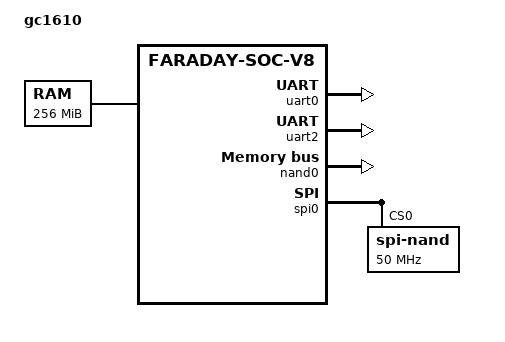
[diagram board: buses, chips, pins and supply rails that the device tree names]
/*
 * Copyright (C) 2014 Faraday, Inc. (www.faraday-tech.com)
 *
 * This program is free software; you can redistribute it and/or modify
 * it under the terms of the GNU General Public License version 2 as
 * published by the Free Software Foundation.
 */
 /dts-v1/;

#include <dt-bindings/interrupt-controller/arm-gic.h>

/ {
	model = "gc1610";
	compatible = "arm,faraday-soc-gc1610","faraday-soc-v8";
	u-boot,dm-pre-reloc;
	interrupt-parent = <&gic>;
	#address-cells = <2>;
	#size-cells = <2>;
	
	aliases {
		serial0 = &uart0;
/*		spi0 = &spi0; */
	};
	
	cpus {
		#address-cells = <2>;
		#size-cells = <0>;
		
		cpu@0 {
			device_type = "cpu";
			compatible = "arm,cortex-a53", "arm,armv8";
//			clock-frequency = <25000000>;
			clock-frequency = <6000000>;
			reg = <0x0 0x000>;
			enable-method = "spin-table";
		};
	
		cpu@1 {
			device_type = "cpu";
			compatible = "arm,cortex-a53","arm,armv8";
			clock-frequency = <8000000>;
			reg = <0x0 0x001>;
			enable-method = "spin-table";
			cpu-release-addr = <0x0 0x201008ac>;
			cpu-magic-addr = <0x0 0x201008a8>;
		};
	
	};
	
	memory@80000000 {
		device_type = "memory";
		reg = <0x0 0x80000000 0x0 0x10000000>;
	};
	gic: interrupt-controller@00400000 {
		compatible = "arm,gic-v3";
		#interrupt-cells = <3>;
		#address-cells = <2>;
		#size-cells = <2>;
		interrupt-controller;
		#redistributor-regions = <1>;
		redistributor-stride = <0x0 0x40000>;	
		reg = <0 0x400000 0 0x40000>,    /* GICD */
		      <0 0x440000 0 0x40000>,   /* GICR */
		      <0x0 0x3f000000 0x0 0x2000>, /* GICC */			  
/*		      <0x0 0x500000 0x0 0x2000>,   *//* GICC */
		      <0x0 0x510000 0x0 0x1000>,  /* GICH */
		      <0x0 0x520000 0x0 0x20000>; /* GICV */	
	};

    timer {
		compatible = "arm,armv8-timer";
		interrupt-parent = <&gic>;
		interrupts = <GIC_PPI 13 (GIC_CPU_MASK_RAW(0xff)|IRQ_TYPE_LEVEL_LOW)>,
		             <GIC_PPI 14 (GIC_CPU_MASK_RAW(0xff)|IRQ_TYPE_LEVEL_LOW)>,
		             <GIC_PPI 11 (GIC_CPU_MASK_RAW(0xff)|IRQ_TYPE_LEVEL_LOW)>,
		             <GIC_PPI 10 (GIC_CPU_MASK_RAW(0xff)|IRQ_TYPE_LEVEL_LOW)>;
		clock-frequency = <50000000>;
		status = "okay";
	};
 
	chosen {
/*		u-boot,dm-pre-reloc; */
		bootargs = "mem=256M console=ttyS0,38400 earlycon=uart8250,mmio32,0x20700000";
		stdout-path = &uart0;
		tick-timer = &timer0;
	};
	
    clocks {
		compatible = "faraday,gc6-clk";
		
		osc0: osc0-12mhz {
			#clock-cells = <0>;
			compatible = "gc6,osc0";
			clock-frequency = <12000000>;
			clock-output-names = "osc0";
		};
		
		audio: audio-12288khz {
			#clock-cells = <0>;
			compatible = "gc6,audio";
			clock-frequency = <12288000>;
			clock-output-names = "audio";
		};
		
		pll0: pll0 {
			#clock-cells = <0>;
			compatible = "gc6,pll0";
			clock-div = <4>;
			clock-output-names = "pll0";
			clocks = <&osc0>;
		};
		
		pll1: pll1 {
			#clock-cells = <0>;
			compatible = "gc6,pll1";
			clock-div = <6>;
			clock-output-names = "pll1";
			clocks = <&osc0>;
		};
		
		pll2: pll2 {
			#clock-cells = <0>;
			compatible = "gc6,pll2";
			clock-div = <8>;
			clock-output-names = "pll2";
			clocks = <&osc0>;
		};
		
		pll3: pll3 {
			#clock-cells = <0>;
			compatible = "gc6,pll3";
			clock-div = <6>;
			clock-output-names = "pll3";
			clocks = <&osc0>;
		};
		
		pll3_div2: pll3_div2 {
			#clock-cells = <0>;
			compatible = "gc6,pll3_div2";
			clock-mult = <1>;
			clock-div = <2>;
			clock-output-names = "pll3_div2";
			clocks = <&pll3>;
		};
		
		cpu: cpu {
			#clock-cells = <0>;
			compatible = "gc6,cpu";
			clock-mult = <1>;
			clock-div = <1>;
			clock-output-names = "cpu";
			clocks = <&osc0>, <&pll0>;
		};
		
		ddrmclk: ddrmclk {
			#clock-cells = <0>;
			compatible = "gc6,ddrmclk";
			clock-mult = <1>;
			clock-div = <1>;
			clock-output-names = "ddrmclk";
			clocks = <&aclk_div2>, <&pll3>;
		};
		
		axi: axi {
			#clock-cells = <0>;
			compatible = "gc6,axi";
			clock-mult = <1>;
			clock-div = <1>;
			clock-output-names = "axi";
			clocks = <&pll1>;
		};
		
		aclk: aclk {
			#clock-cells = <0>;
			compatible = "gc6,aclk";
			clock-mult = <1>;
			clock-div = <1>;
			clock-output-names = "aclk";
			clocks = <&pll1>;
		};
		
		aclk_div2: aclk_div2 {
			#clock-cells = <0>;
			compatible = "gc6,aclk_div2";
			clock-output-names = "aclk_div2";
			clock-mult = <1>;
			clock-div = <2>;
			clocks = <&aclk>;
		};
		
		ahb: ahb {
			#clock-cells = <0>;
			compatible = "gc6,ahb";
			clock-mult = <1>;
			clock-div = <4>;
			clock-output-names = "ahb";
			clocks = <&pll1>;
		};
		
		hclk: hclk {
			#clock-cells = <0>;
			compatible = "gc6,hclk";
			clock-mult = <1>;
			clock-div = <4>;
			clock-output-names = "hclk";
			clocks = <&pll1>;
		};
		
		apb: apb {
			#clock-cells = <0>;
			compatible = "gc6,apb";
			clock-mult = <1>;
			clock-div = <8>;
			clock-output-names = "APB";
			clocks = <&pll1>;
		};
		
		pclk: pclk {
			#clock-cells = <0>;
			compatible = "gc6,pclk";
			clock-mult = <1>;
			clock-div = <8>;
			clock-output-names = "pclk";
			clocks = <&pll1>;
		};
		
		sdclk: sdclk {
			#clock-cells = <0>;
			compatible = "gc6,sdclk";
			clock-mult = <1>;
			clock-div = <2>;
			clock-output-names = "sdclk";
			clocks = <&aclk_div2>;
		};
		
		spiclk: spiclk {
			#clock-cells = <0>;
			compatible = "gc6,spiclk";
			clock-mult = <1>;
			clock-div = <1>;
			clock-output-names = "spiclk";
			clocks = <&hclk>;
		};
	
		sspclk: sspclk {
			#clock-cells = <0>;
			compatible = "gc6,sspclk";
			clock-mult = <1>;
			clock-div = <1>;
			clock-output-names = "sspclk";
			clocks = <&hclk>;
		};
		
		sspclk_i2s: sspclk_i2s {
			#clock-cells = <0>;
			compatible = "gc6,sspclk_i2s";
			clock-mult = <1>;
			clock-div = <1>;
			clock-output-names = "sspclk_i2s";
			clocks = <&audio>;
		};
		
		gmacclk: gmacclk {
			#clock-cells = <0>;
			compatible = "gc6,gmacclk";
			clock-mult = <1>;
			clock-div = <1>;
			clock-output-names = "gmacclk";
			clocks = <&hclk>;
		};
		
		lcclk: lcclk {
			#clock-cells = <0>;
			compatible = "gc6,lcclk";
			clock-output-names = "lcclk";
			clock-mult = <1>;
			clock-div = <3>;
			clocks = <&pll2>;
		};
	};
	
	soc{
		#address-cells = <2>;
		#size-cells = <2>;
		compatible = "simple-bus";
		ranges;

		timer0: timer@20200000 {
			compatible = "faraday,ftpwmtmr010-timer";
			reg = <0x0 0x20200000 0x0 0x1000>;
			interrupts = <GIC_SPI 34 IRQ_TYPE_LEVEL_HIGH>;
		};
		
		uart0: uart@20700000 {
			//compatible = "of_serial,ns16550_serial", "ns16550";
			compatible = "of_serial", "ns16550a","of_serial,ns16550_serial", "ns16550";
			clock-frequency = <31250000>;
			reg = <0x0 0x20700000 0x0 0x1000>;
			reg-offset = <0>;
			reg-shift = <2>;
			reg-io-width = <4>;
			no-loopback-test;
			interrupts = <GIC_SPI 19 IRQ_TYPE_LEVEL_HIGH>;
		};
		uart2: uart@20900000 {
			//compatible = "of_serial,ns16550_serial", "ns16550";
			compatible = "of_serial", "ns16550a","of_serial,ns16550_serial", "ns16550";
			clock-frequency = <31250000>;
			reg = <0x0 0x20900000 0x0 0x1000>;
			reg-offset = <0>;
			reg-shift = <2>;
			reg-io-width = <4>;
			no-loopback-test;
			interrupts = <GIC_SPI 21 IRQ_TYPE_LEVEL_HIGH>;
		};
		nand0: nand@c0600000 {
			compatible = "ftnandc024";
			reg = <0x10000000 0x1000>;
			data_reg = <0x10100000 0x1000>;
			sel_ce = <0>;
			rac = <3>;
			cac = <2>;
			bi_reserve = <1>;
			interrupts = <GIC_SPI 26 IRQ_TYPE_LEVEL_HIGH>;
		};		
		/*
		sd0: sd@24300000 {
			compatible = "faraday,ftsdc021-sdhci";
			interrupt-parent = <&gic>;
			reg = <0x24300000 0x1000>;
			interrupts = <GIC_SPI 25 IRQ_TYPE_LEVEL_HIGH>;
			bus-width = <4>;
			status = "okay";
		};
		
		sd1: sd@24400000 {
			compatible = "faraday,ftsdc021-sdhci";
			interrupt-parent = <&gic>;
			reg = <0x24400000 0x1000>;
			interrupts = <GIC_SPI 26 IRQ_TYPE_LEVEL_HIGH>;
			bus-width = <4>;
			status = "disabled";
		};
	*/	
		spi0: spi@00300000 {
			compatible = "faraday,ftspi020_spi";
			interrupt-parent = <&gic>;
			reg = <0x0 0x00300000 0x0 0x200>;
			interrupts = <GIC_SPI 75 IRQ_TYPE_LEVEL_HIGH>;
			num-cs = <4>;
			cs = <0>;
			max_hz = <60000000>;
			status = "okay";
			
			#address-cells = <1>;
			#size-cells = <0>;
			/*
			spi0_flash0: spi0_flash0@0 {
				compatible = "en25qh256"; 
				#address-cells = <1>;
				#size-cells = <1>;
				spi-max-frequency = <60000000>;
				reg = <0>;
				
				spi0_flash0@00000000 {
					label = "spi0_flash0";
					reg = <0x0 0x100000>;
				};
			};*/
			spi-nand@0 { //0xefaa21
				#address-cells = <1>;
				#size-cells = <1>;
				compatible = "spi-nand";
				spi-max-frequency = <50000000>;
				reg = <0x0>;				
			};
		};
	/*	
		i2c0: i2c@20a00000 {
			compatible = "faraday,fti2c010-i2c";
			interrupt-parent = <&gic>;
			dev_id = <0>;
			reg = <0x0 0x20a00000 0x0 0x1000>;
			clock-frequency = <400000>;
			status = "okay";
		};
		
		i2c1: i2c@20b00000 {
			compatible = "faraday,fti2c010-i2c";
			interrupt-parent = <&gic>;
			dev_id = <1>;
			reg = <0x0 0x20b00000 0x0 0x1000>;
			clock-frequency = <400000>;
			status = "okay";
		};
	*/
	};
};
